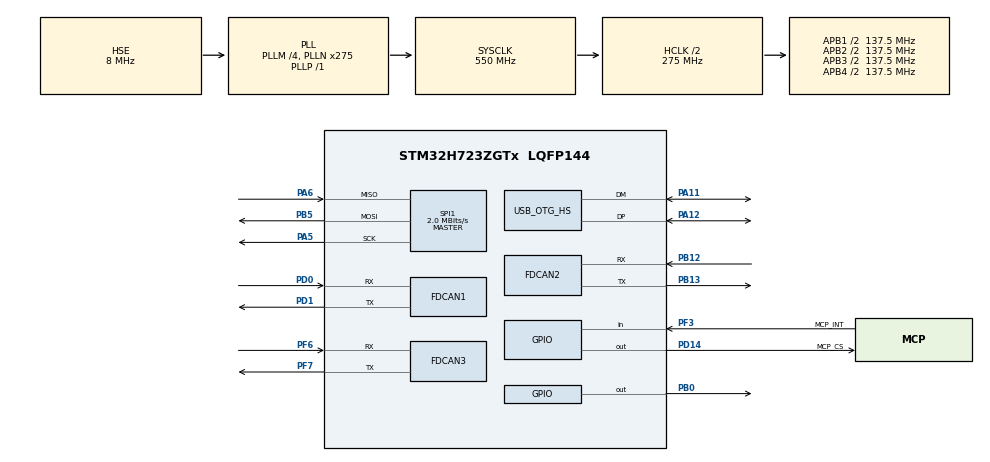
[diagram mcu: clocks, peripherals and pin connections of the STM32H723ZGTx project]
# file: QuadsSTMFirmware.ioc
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CORTEX_M7.default_mode_Activation=1
FDCAN1.AutoRetransmission=ENABLE
FDCAN1.CalculateBaudRateNominal=1000000
FDCAN1.CalculateTimeBitNominal=1000
FDCAN1.CalculateTimeQuantumNominal=12.5
FDCAN1.NominalPrescaler=1
FDCAN1.NominalSyncJumpWidth=10
FDCAN1.NominalTimeSeg1=69
FDCAN1.NominalTimeSeg2=10
FDCAN1.RxFifo0ElmtsNbr=8
FDCAN1.StdFiltersNbr=1
FDCAN1.TxFifoQueueElmtsNbr=8
FDCAN2.AutoRetransmission=ENABLE
FDCAN2.CalculateBaudRateNominal=1000000
FDCAN2.CalculateTimeBitNominal=1000
FDCAN2.CalculateTimeQuantumNominal=12.5
FDCAN2.MessageRAMOffset=128
FDCAN2.NominalPrescaler=1
FDCAN2.NominalSyncJumpWidth=10
FDCAN2.NominalTimeSeg1=69
FDCAN2.NominalTimeSeg2=10
FDCAN2.RxFifo0ElmtsNbr=8
FDCAN2.StdFiltersNbr=1
FDCAN2.TxFifoQueueElmtsNbr=8
FDCAN3.AutoRetransmission=ENABLE
FDCAN3.CalculateBaudRateNominal=1000000
FDCAN3.CalculateTimeBitNominal=1000
FDCAN3.CalculateTimeQuantumNominal=12.5
FDCAN3.MessageRAMOffset=256
FDCAN3.NominalPrescaler=1
FDCAN3.NominalSyncJumpWidth=10
FDCAN3.NominalTimeSeg1=69
FDCAN3.NominalTimeSeg2=10
FDCAN3.RxFifo0ElmtsNbr=8
FDCAN3.StdFiltersNbr=1
FDCAN3.TxFifoQueueElmtsNbr=8
FREERTOS.Tasks01=defaultTask,24,512,StartDefaultTask,Default,NULL,Dynamic,NULL,NULL;ControlTask,48,4096,StartControlTask,As external,NULL,Dynamic,NULL,NULL
FREERTOS.configTOTAL_HEAP_SIZE=65536
Mcu.Family=STM32H7
Mcu.Name=STM32H723ZGTx
Mcu.Package=LQFP144
NVIC.FDCAN1_IT0_IRQn=true\:5\:0\:false\:false\:true\:true\:true\:true\:true
NVIC.OTG_HS_IRQn=true\:6\:0\:true\:false\:false\:true\:true\:false\:true
NVIC.PriorityGroup=NVIC_PRIORITYGROUP_4
NVIC.TIM6_DAC_IRQn=true\:15\:0\:false\:false\:true\:false\:false\:true\:true
NVIC.TimeBase=TIM6_DAC_IRQn
NVIC.TimeBaseIP=TIM6
PA11.Mode=Device_Only_FS
PA11.Signal=USB_OTG_HS_DM
PA12.Mode=Device_Only_FS
PA12.Signal=USB_OTG_HS_DP
PA13(JTMS/SWDIO).Mode=Trace_Asynchronous_SW
PA13(JTMS/SWDIO).Signal=DEBUG_JTMS-SWDIO
PA14(JTCK/SWCLK).Mode=Trace_Asynchronous_SW
PA14(JTCK/SWCLK).Signal=DEBUG_JTCK-SWCLK
PA5.Mode=Full_Duplex_Master
PA5.Signal=SPI1_SCK
PA6.Mode=Full_Duplex_Master
PA6.Signal=SPI1_MISO
PB0.Signal=GPIO_Output
PB12.Mode=FDCAN_Activate
PB12.Signal=FDCAN2_RX
PB13.Mode=FDCAN_Activate
PB13.Signal=FDCAN2_TX
PB3(JTDO/TRACESWO).Mode=Trace_Asynchronous_SW
PB3(JTDO/TRACESWO).Signal=DEBUG_JTDO-SWO
PB5.Mode=Full_Duplex_Master
PB5.Signal=SPI1_MOSI
PD0.Mode=FDCAN_Activate
PD0.Signal=FDCAN1_RX
PD1.Mode=FDCAN_Activate
PD1.Signal=FDCAN1_TX
PD14.GPIO_Label=MCP_CS
PD14.PinState=GPIO_PIN_SET
PD14.Signal=GPIO_Output
PF3.GPIO_Label=MCP_INT
PF3.GPIO_PuPd=GPIO_PULLUP
PF3.Signal=GPIO_Input
PF6.Mode=FDCAN_Activate
PF6.Signal=FDCAN3_RX
PF7.Mode=FDCAN_Activate
PF7.Signal=FDCAN3_TX
PH0-OSC_IN.Mode=HSE-External-Oscillator
PH0-OSC_IN.Signal=RCC_OSC_IN
PH1-OSC_OUT.Mode=HSE-External-Oscillator
PH1-OSC_OUT.Signal=RCC_OSC_OUT
ProjectManager.HeapSize=0x200
ProjectManager.StackSize=0x400
ProjectManager.TargetToolchain=CMake
RCC.ADCFreq_Value=160000000
RCC.APB1Freq_Value=137500000
RCC.APB2Freq_Value=137500000
RCC.APB3Freq_Value=137500000
RCC.APB4Freq_Value=137500000
RCC.CortexFreq_Value=550000000
RCC.D1PPRE=RCC_APB3_DIV2
RCC.D2PPRE1=RCC_APB1_DIV2
RCC.D2PPRE2=RCC_APB2_DIV2
RCC.D3PPRE=RCC_APB4_DIV2
RCC.DIVM1=4
RCC.DIVM2=4
RCC.DIVN1=275
RCC.DIVN2=160
RCC.DIVP1=1
RCC.DIVQ2=4
RCC.FDCANCLockSelection=RCC_FDCANCLKSOURCE_PLL2
RCC.HCLKFreq_Value=275000000
RCC.HPRE=RCC_HCLK_DIV2
RCC.HSE_VALUE=8000000
RCC.PLLSourceVirtual=RCC_PLLSOURCE_HSE
RCC.SPI123CLockSelection=RCC_SPI123CLKSOURCE_CLKP
RCC.SYSCLKFreq_VALUE=550000000
RCC.SYSCLKSource=RCC_SYSCLKSOURCE_PLLCLK
RCC.USBCLockSelection=RCC_USBCLKSOURCE_HSI48
RCC.USBFreq_Value=48000000
SPI1.BaudRatePrescaler=SPI_BAUDRATEPRESCALER_32
SPI1.CalculateBaudRate=2.0 MBits/s
SPI1.DataSize=SPI_DATASIZE_8BIT
SPI1.Direction=SPI_DIRECTION_2LINES
SPI1.MasterKeepIOState=SPI_MASTER_KEEP_IO_STATE_ENABLE
SPI1.Mode=SPI_MODE_MASTER
SPI1.NSSPMode=SPI_NSS_PULSE_DISABLE
SPI1.VirtualType=VM_MASTER
USB_OTG_HS.VirtualMode-Device_Only_FS=Device_Only_FS
VP_FREERTOS_VS_CMSIS_V2.Mode=CMSIS_V2
VP_MEMORYMAP_VS_MEMORYMAP.Mode=CurAppReg
VP_RCC_USB.Mode=USB_HS
VP_SYS_VS_tim6.Mode=TIM6
board=custom

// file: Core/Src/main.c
/* USER CODE BEGIN Header */
/**
  ******************************************************************************
  * @file           : main.c
  * @brief          : Main program body
  ******************************************************************************
  * @attention
  *
  * Copyright (c) 2026 STMicroelectronics.
  * All rights reserved.
  *
  * This software is licensed under terms that can be found in the LICENSE file
  * in the root directory of this software component.
  * If no LICENSE file comes with this software, it is provided AS-IS.
  *
  ******************************************************************************
  */
/* USER CODE END Header */
#include "main.h"
#include "FreeRTOS.h"
#include "cmsis_os2.h"
#include "fdcan.h"
#include "spi.h"
#include "gpio.h"

/* USER CODE BEGIN Includes */
#include "rtt_log.h"
/* USER CODE END Includes */

void SystemClock_Config(void);
void PeriphCommonClock_Config(void);
static void MPU_Config(void);
void MX_FREERTOS_Init(void);

/* USER CODE BEGIN 0 */
/**
 * @name : RTT_MPU_Config
 * @brief : Make the linker-reserved RTT RAM visible to the debug probe without cache.
 * @note : Region 1 covers 8 KB at 0x24000000; keep this aligned with RAM_RTT.
 */
static void RTT_MPU_Config(void)
{
  MPU_Region_InitTypeDef region = {0};
  region.Enable = MPU_REGION_ENABLE;
  region.Number = MPU_REGION_NUMBER1;
  region.BaseAddress = 0x24000000;
  region.Size = MPU_REGION_SIZE_8KB;
  region.SubRegionDisable = 0;
  region.TypeExtField = MPU_TEX_LEVEL1;
  region.AccessPermission = MPU_REGION_FULL_ACCESS;
  region.DisableExec = MPU_INSTRUCTION_ACCESS_DISABLE;
  region.IsShareable = MPU_ACCESS_SHAREABLE;
  region.IsCacheable = MPU_ACCESS_NOT_CACHEABLE;
  region.IsBufferable = MPU_ACCESS_NOT_BUFFERABLE;

  HAL_MPU_Disable();
  HAL_MPU_ConfigRegion(&region);
  HAL_MPU_Enable(MPU_PRIVILEGED_DEFAULT);
}
/* USER CODE END 0 */

int main(void)
{

  /* MPU Configuration--------------------------------------------------------*/
  MPU_Config();

  /* MCU Configuration--------------------------------------------------------*/

  /* Reset of all peripherals, Initializes the Flash interface and the Systick. */
  HAL_Init();

  /* Configure the system clock */
  SystemClock_Config();

  /* Configure the peripherals common clocks */
  PeriphCommonClock_Config();

  /* USER CODE BEGIN SysInit */
  RTT_MPU_Config();
  rtt_log_init();
  /* USER CODE END SysInit */

  /* Initialize all configured peripherals */
  MX_GPIO_Init();
  MX_SPI1_Init();
  MX_FDCAN1_Init();
  MX_FDCAN2_Init();
  MX_FDCAN3_Init();

  /* Init scheduler */
  osKernelInitialize();  /* Call init function for freertos objects (in cmsis_os2.c) */
  MX_FREERTOS_Init();

  /* Start scheduler */
  osKernelStart();

  /* We should never get here as control is now taken by the scheduler */

  /* Infinite loop */
  while (1)
  {

  }
}

void SystemClock_Config(void)
{
  RCC_OscInitTypeDef RCC_OscInitStruct = {0};
  RCC_ClkInitTypeDef RCC_ClkInitStruct = {0};
  RCC_CRSInitTypeDef RCC_CRSInitStruct = {0};

  /** Supply configuration update enable
  */
  HAL_PWREx_ConfigSupply(PWR_LDO_SUPPLY);

  /** Configure the main internal regulator output voltage
  */
  __HAL_PWR_VOLTAGESCALING_CONFIG(PWR_REGULATOR_VOLTAGE_SCALE0);

  while(!__HAL_PWR_GET_FLAG(PWR_FLAG_VOSRDY)) {}

  /** Initializes the RCC Oscillators according to the specified parameters
  * in the RCC_OscInitTypeDef structure.
  */
  RCC_OscInitStruct.OscillatorType = RCC_OSCILLATORTYPE_HSI48|RCC_OSCILLATORTYPE_HSI
                              |RCC_OSCILLATORTYPE_HSE;
  RCC_OscInitStruct.HSEState = RCC_HSE_ON;
  RCC_OscInitStruct.HSIState = RCC_HSI_DIV1;
  RCC_OscInitStruct.HSICalibrationValue = 64;
  RCC_OscInitStruct.HSI48State = RCC_HSI48_ON;
  RCC_OscInitStruct.PLL.PLLState = RCC_PLL_ON;
  RCC_OscInitStruct.PLL.PLLSource = RCC_PLLSOURCE_HSE;
  RCC_OscInitStruct.PLL.PLLM = 4;
  RCC_OscInitStruct.PLL.PLLN = 275;
  RCC_OscInitStruct.PLL.PLLP = 1;
  RCC_OscInitStruct.PLL.PLLQ = 2;
  RCC_OscInitStruct.PLL.PLLR = 2;
  RCC_OscInitStruct.PLL.PLLRGE = RCC_PLL1VCIRANGE_1;
  RCC_OscInitStruct.PLL.PLLVCOSEL = RCC_PLL1VCOWIDE;
  RCC_OscInitStruct.PLL.PLLFRACN = 0;
  if (HAL_RCC_OscConfig(&RCC_OscInitStruct) != HAL_OK)
  {
    Error_Handler();
  }

  /** Initializes the CPU, AHB and APB buses clocks
  */
  RCC_ClkInitStruct.ClockType = RCC_CLOCKTYPE_HCLK|RCC_CLOCKTYPE_SYSCLK
                              |RCC_CLOCKTYPE_PCLK1|RCC_CLOCKTYPE_PCLK2
                              |RCC_CLOCKTYPE_D3PCLK1|RCC_CLOCKTYPE_D1PCLK1;
  RCC_ClkInitStruct.SYSCLKSource = RCC_SYSCLKSOURCE_PLLCLK;
  RCC_ClkInitStruct.SYSCLKDivider = RCC_SYSCLK_DIV1;
  RCC_ClkInitStruct.AHBCLKDivider = RCC_HCLK_DIV2;
  RCC_ClkInitStruct.APB3CLKDivider = RCC_APB3_DIV2;
  RCC_ClkInitStruct.APB1CLKDivider = RCC_APB1_DIV2;
  RCC_ClkInitStruct.APB2CLKDivider = RCC_APB2_DIV2;
  RCC_ClkInitStruct.APB4CLKDivider = RCC_APB4_DIV2;

  if (HAL_RCC_ClockConfig(&RCC_ClkInitStruct, FLASH_LATENCY_3) != HAL_OK)
  {
    Error_Handler();
  }

  /** Enable the SYSCFG APB clock
  */
  __HAL_RCC_CRS_CLK_ENABLE();

  /** Configures CRS
  */
  RCC_CRSInitStruct.Prescaler = RCC_CRS_SYNC_DIV1;
  RCC_CRSInitStruct.Source = RCC_CRS_SYNC_SOURCE_USB2;
  RCC_CRSInitStruct.Polarity = RCC_CRS_SYNC_POLARITY_RISING;
  RCC_CRSInitStruct.ReloadValue = __HAL_RCC_CRS_RELOADVALUE_CALCULATE(48000000,1000);
  RCC_CRSInitStruct.ErrorLimitValue = 34;
  RCC_CRSInitStruct.HSI48CalibrationValue = 32;

  HAL_RCCEx_CRSConfig(&RCC_CRSInitStruct);
}

void PeriphCommonClock_Config(void)
{
  RCC_PeriphCLKInitTypeDef PeriphClkInitStruct = {0};

  /** Initializes the peripherals clock
  */
  PeriphClkInitStruct.PeriphClockSelection = RCC_PERIPHCLK_FDCAN|RCC_PERIPHCLK_CKPER;
  PeriphClkInitStruct.PLL2.PLL2M = 4;
  PeriphClkInitStruct.PLL2.PLL2N = 160;
  PeriphClkInitStruct.PLL2.PLL2P = 2;
  PeriphClkInitStruct.PLL2.PLL2Q = 4;
  PeriphClkInitStruct.PLL2.PLL2R = 2;
  PeriphClkInitStruct.PLL2.PLL2RGE = RCC_PLL2VCIRANGE_1;
  PeriphClkInitStruct.PLL2.PLL2VCOSEL = RCC_PLL2VCOWIDE;
  PeriphClkInitStruct.PLL2.PLL2FRACN = 0;
  PeriphClkInitStruct.CkperClockSelection = RCC_CLKPSOURCE_HSI;
  PeriphClkInitStruct.FdcanClockSelection = RCC_FDCANCLKSOURCE_PLL2;
  if (HAL_RCCEx_PeriphCLKConfig(&PeriphClkInitStruct) != HAL_OK)
  {
    Error_Handler();
  }
}

 /* MPU Configuration */

void MPU_Config(void)
{
  MPU_Region_InitTypeDef MPU_InitStruct = {0};

  /* Disables the MPU */
  HAL_MPU_Disable();

  /** Initializes and configures the Region and the memory to be protected
  */
  MPU_InitStruct.Enable = MPU_REGION_ENABLE;
  MPU_InitStruct.Number = MPU_REGION_NUMBER0;
  MPU_InitStruct.BaseAddress = 0x0;
  MPU_InitStruct.Size = MPU_REGION_SIZE_4GB;
  MPU_InitStruct.SubRegionDisable = 0x87;
  MPU_InitStruct.TypeExtField = MPU_TEX_LEVEL0;
  MPU_InitStruct.AccessPermission = MPU_REGION_NO_ACCESS;
  MPU_InitStruct.DisableExec = MPU_INSTRUCTION_ACCESS_DISABLE;
  MPU_InitStruct.IsShareable = MPU_ACCESS_SHAREABLE;
  MPU_InitStruct.IsCacheable = MPU_ACCESS_NOT_CACHEABLE;
  MPU_InitStruct.IsBufferable = MPU_ACCESS_NOT_BUFFERABLE;

  HAL_MPU_ConfigRegion(&MPU_InitStruct);
  /* Enables the MPU */
  HAL_MPU_Enable(MPU_PRIVILEGED_DEFAULT);

}

void HAL_TIM_PeriodElapsedCallback(TIM_HandleTypeDef *htim)
{
  if (htim->Instance == TIM6)
  {
    HAL_IncTick();
  }
}

void Error_Handler(void)
{
  __disable_irq();
  while (1)
  {
  }
}

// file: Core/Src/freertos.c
/* USER CODE BEGIN Header */
/**
  ******************************************************************************
  * File Name          : freertos.c
  * Description        : Code for freertos applications
  ******************************************************************************
  * @attention
  *
  * Copyright (c) 2026 STMicroelectronics.
  * All rights reserved.
  *
  * This software is licensed under terms that can be found in the LICENSE file
  * in the root directory of this software component.
  * If no LICENSE file comes with this software, it is provided AS-IS.
  *
  ******************************************************************************
  */
/* USER CODE END Header */

#include "FreeRTOS.h"
#include "task.h"
#include "main.h"
#include "FreeRTOS.h"
#include "cmsis_os2.h"

/* USER CODE BEGIN Includes */
#include "rtt_log.h"
#include "mcp2518fd.h"
#include "fdcan_interface.h"
#include "usb_link.h"
#include "usb_demo.h"
/* USER CODE END Includes */

/* USER CODE BEGIN Variables */
/* Tasks created in code (not in CubeMX). Keep all task priorities in this file.
 * Priority map: ControlTask Realtime > UsbTask AboveNormal > defaultTask Normal > UsbDemoTask Low */
osThreadId_t UsbTaskHandle;
const osThreadAttr_t UsbTask_attributes = {
  .name = "UsbTask",
  .stack_size = 512 * 4,
  .priority = (osPriority_t) osPriorityAboveNormal,
};
osThreadId_t UsbDemoTaskHandle;
const osThreadAttr_t UsbDemoTask_attributes = {
  .name = "UsbDemoTask",
  .stack_size = 512 * 4,   /* fast_printf uses vsnprintf */
  .priority = (osPriority_t) osPriorityLow,
};
/* USER CODE END Variables */
/* Definitions for defaultTask */
osThreadId_t defaultTaskHandle;
const osThreadAttr_t defaultTask_attributes = {
  .name = "defaultTask",
  .stack_size = 512 * 4,
  .priority = (osPriority_t) osPriorityNormal,
};
/* Definitions for ControlTask */
osThreadId_t ControlTaskHandle;
const osThreadAttr_t ControlTask_attributes = {
  .name = "ControlTask",
  .stack_size = 4096 * 4,
  .priority = (osPriority_t) osPriorityRealtime,
};

/* USER CODE BEGIN FunctionPrototypes */
static void DWT_Init(void);
/* USER CODE END FunctionPrototypes */

void StartDefaultTask(void *argument);
extern void StartControlTask(void *argument);

void MX_FREERTOS_Init(void); /* (MISRA C 2004 rule 8.1) */

void MX_FREERTOS_Init(void) {

  /* Create the thread(s) */
  /* creation of defaultTask */
  defaultTaskHandle = osThreadNew(StartDefaultTask, NULL, &defaultTask_attributes);

  /* creation of ControlTask */
  ControlTaskHandle = osThreadNew(StartControlTask, NULL, &ControlTask_attributes);

  /* USER CODE BEGIN RTOS_THREADS */
  /* add threads, ... */
  /* creation of UsbTask: TinyUSB device stack (Jetson link) */
  UsbTaskHandle = osThreadNew(StartUsbTask, NULL, &UsbTask_attributes);
  /* creation of UsbDemoTask: prints received USB commands over RTT (remove to disable) */
  UsbDemoTaskHandle = osThreadNew(StartUsbDemoTask, NULL, &UsbDemoTask_attributes);
  /* USER CODE END RTOS_THREADS */

}

/* USER CODE BEGIN Header_StartDefaultTask */
/**
 * @name : StartDefaultTask
 * @brief : Toggle the LED and measure one fast_printf call every 200 ticks.
 * @param : argument - Unused CMSIS-RTOS2 task argument.
 */
/* USER CODE END Header_StartDefaultTask */
void StartDefaultTask(void *argument)
{
  /* USER CODE BEGIN StartDefaultTask */
  (void)argument;
  DWT_Init();
  // mcp_loopback_test(); /* MCP2518FD bring-up: runs once, prints results over RTT */
  // fdcan_loopback_test(); /* FDCAN1-3 bring-up: runs once, no transceiver needed */
  // initialize_CAN_buses();
  for (;;)
  {
    HAL_GPIO_TogglePin(GPIOB, GPIO_PIN_0);
    osDelay(200);

    // uint32_t start_cycles = DWT->CYCCNT;
    // fast_printf("HERE!!!!\r\n");
    // uint32_t elapsed_cycles = DWT->CYCCNT - start_cycles;
    // /* Convert outside timing; avoid requiring float printf support. */
    // uint64_t elapsed_ns = (uint64_t)elapsed_cycles * 1000000000ULL / SystemCoreClock;
    // fast_printf("time: %lu.%03lu us\r\n",
    //             (unsigned long)(elapsed_ns / 1000U),
    //             (unsigned long)(elapsed_ns % 1000U));
  }
  /* USER CODE END StartDefaultTask */
}

/* USER CODE BEGIN Application */
/**
 * @name : DWT_Init
 * @brief : Enable cycle timing for the demo; RTT output does not need DWT.
 * @note : Leave CYCCNT unchanged so other measurements can share the counter.
 */
static void DWT_Init(void)
{
  CoreDebug->DEMCR |= CoreDebug_DEMCR_TRCENA_Msk;
  DWT->LAR = 0xC5ACCE55; /* Unlock DWT on Cortex-M7. */
  DWT->CTRL |= DWT_CTRL_CYCCNTENA_Msk;
}

/* USER CODE END Application */
